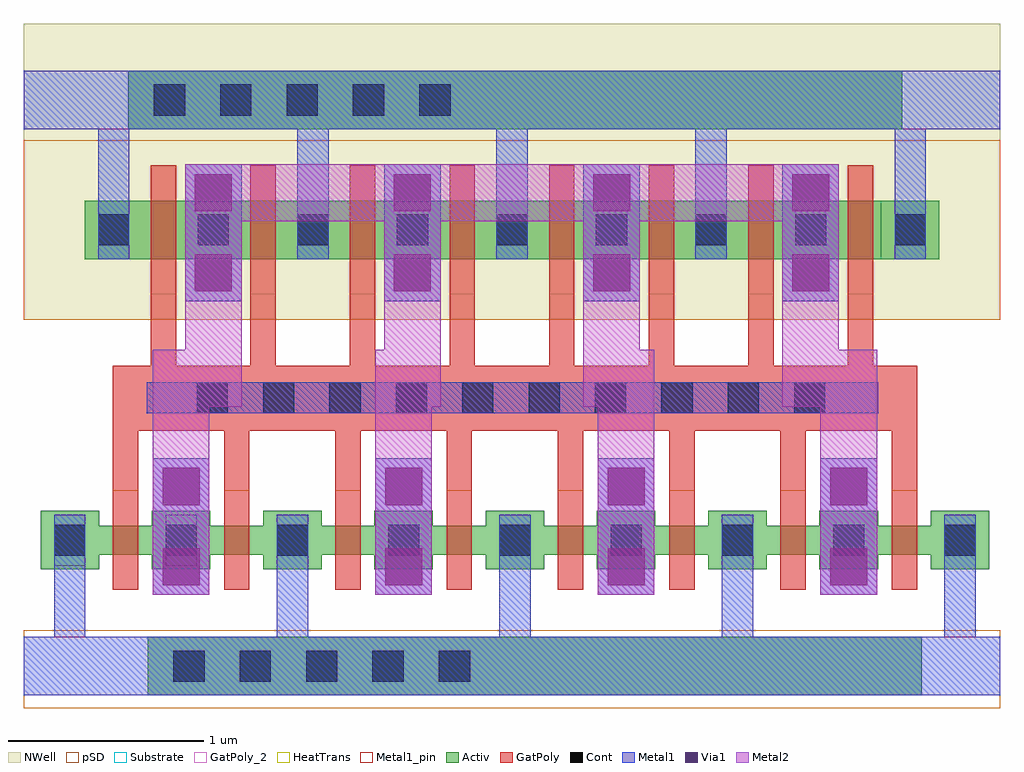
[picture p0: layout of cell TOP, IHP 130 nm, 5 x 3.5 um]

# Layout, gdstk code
from math import pi, radians
import gdstk
lib = gdstk.Library(unit=1e-6, precision=1e-09)
def R(c, l, rs):  # rectangles x0, y0, x1, y1
    for r in rs: c.add(gdstk.rectangle(r[:2], r[2:], *l))
def A(c, l, x, y, w, h, nx, ny, dx, dy):  # array of equal rectangles
    R(c, l, [(x+i*dx, y+j*dy, x+i*dx+w, y+j*dy+h) for i in range(nx) for j in range(ny)])
def P(c, l, *ps):  # polygons
    for p in ps: c.add(gdstk.Polygon(p, *l))
Activ = (1, 0)
GatPoly = (5, 0)
GatPoly_2 = (5, 2)
Cont = (6, 0)
Metal1 = (8, 0)
Metal1_pin = (8, 2)
Metal2 = (10, 0)
pSD = (14, 0)
Via1 = (19, 0)
NWell = (31, 0)
Substrate = (40, 0)
HeatTrans = (51, 0)

pmos_1 = lib.new_cell('pmos$1')
A(pmos_1, Activ, 0, 0, 0.3, 0.3, 9, 1, 0.51, 0)
R(pmos_1, Activ, [(0,0,4.38,0.3)])
A(pmos_1, GatPoly, 0.34, -0.18, 0.13, 0.66, 8, 1, 0.51, 0)
R(pmos_1, GatPoly, [(0.34,-0.18,0.47,0.48)])
A(pmos_1, Cont, 0.07, 0.07, 0.16, 0.16, 9, 1, 0.51, 0)
A(pmos_1, Metal1, 0.58, 0, 0.16, 0.3, 8, 1, 0.51, 0)
R(pmos_1, Metal1, [(0.07,0,0.23,0.3), (0.07,0,0.23,0.3), (0.58,0,0.74,0.3)])
R(pmos_1, pSD, [(-0.18,-0.3,4.56,0.6)])
R(pmos_1, NWell, [(-0.31,-0.31,4.69,0.61)])
R(pmos_1, Substrate, [(4.08,0,4.38,0.3)])
A(pmos_1, HeatTrans, 0.34, -0.18, 0.13, 0.66, 8, 1, 0.51, 0)
pmos_1.add(gdstk.Label('pmos', (0.405,0.15), layer=63, texttype=0))
pmos_1.add(gdstk.Label('pmos', (0.405,0.15), layer=51, texttype=0))
pmos_1.add(gdstk.Label('pmos', (0.915,0.15), layer=51, texttype=0))
pmos_1.add(gdstk.Label('pmos', (1.425,0.15), layer=51, texttype=0))
pmos_1.add(gdstk.Label('pmos', (1.935,0.15), layer=51, texttype=0))
pmos_1.add(gdstk.Label('pmos', (2.445,0.15), layer=51, texttype=0))
pmos_1.add(gdstk.Label('pmos', (2.955,0.15), layer=51, texttype=0))
pmos_1.add(gdstk.Label('pmos', (3.465,0.15), layer=51, texttype=0))
pmos_1.add(gdstk.Label('pmos', (3.975,0.15), layer=51, texttype=0))

nmos_1 = lib.new_cell('nmos$1')
A(nmos_1, Activ, 0, 0, 0.3, 0.3, 9, 1, 0.57, 0)
R(nmos_1, Activ, [(0,0.075,4.86,0.225)])
A(nmos_1, GatPoly, 0.37, -0.105, 0.13, 0.51, 8, 1, 0.57, 0)
R(nmos_1, GatPoly_2, [(0.37,-0.105,0.5,0.405)])
A(nmos_1, Cont, 0.07, 0.07, 0.16, 0.16, 9, 1, 0.57, 0)
A(nmos_1, Metal1, 0.07, 0.02, 0.16, 0.26, 9, 1, 0.57, 0)
R(nmos_1, Metal1_pin, [(0.07,0.02,0.23,0.28), (0.64,0.02,0.8,0.28)])
A(nmos_1, HeatTrans, 0.37, -0.105, 0.13, 0.51, 8, 1, 0.57, 0)
nmos_1.add(gdstk.Label('nmos', (0.435,0.15), layer=63, texttype=0))
nmos_1.add(gdstk.Label('nmos', (0.435,0.15), layer=51, texttype=0))
nmos_1.add(gdstk.Label('nmos', (1.005,0.15), layer=51, texttype=0))
nmos_1.add(gdstk.Label('nmos', (1.575,0.15), layer=51, texttype=0))
nmos_1.add(gdstk.Label('nmos', (2.145,0.15), layer=51, texttype=0))
nmos_1.add(gdstk.Label('nmos', (2.715,0.15), layer=51, texttype=0))
nmos_1.add(gdstk.Label('nmos', (3.285,0.15), layer=51, texttype=0))
nmos_1.add(gdstk.Label('nmos', (3.855,0.15), layer=51, texttype=0))
nmos_1.add(gdstk.Label('nmos', (4.425,0.15), layer=51, texttype=0))

via_stack = lib.new_cell('via_stack')
R(via_stack, Metal1, [(-0.35,-0.145,0.35,0.145)])
R(via_stack, Metal2, [(-0.35,-0.145,0.35,0.145)])
R(via_stack, Via1, [(-0.3,-0.095,-0.11,0.095), (0.11,-0.095,0.3,0.095)])

top = lib.new_cell('TOP')
R(top, Activ, [(-1.115,1.81,2.85,2.11), (-1.215,4.71,2.75,5.01)])
P(top, GatPoly, [(-1.295,2.86),(-1.295,3.5),(-1.1,3.5),(-1.1,3.865),(-0.97,3.865),(-0.97,3.5),(-0.59,3.5),(-0.59,3.865),(-0.46,3.865),(-0.46,3.5),(-0.08,3.5),(-0.08,3.865),(0.05,3.865),(0.05,3.5),(0.43,3.5),(0.43,3.865),(0.56,3.865),(0.56,3.5),(0.94,3.5),(0.94,3.865),(1.07,3.865),(1.07,3.5),(1.45,3.5),(1.45,3.865),(1.58,3.865),(1.58,3.5),(1.96,3.5),(1.96,3.865),(2.09,3.865),(2.09,3.5),(2.47,3.5),(2.47,3.865),(2.6,3.865),(2.6,3.5),(2.825,3.5),(2.825,2.86),(2.695,2.86),(2.695,3.165),(2.255,3.165),(2.255,2.86),(2.125,2.86),(2.125,3.165),(1.685,3.165),(1.685,2.86),(1.555,2.86),(1.555,3.165),(1.115,3.165),(1.115,2.86),(0.985,2.86),(0.985,3.165),(0.545,3.165),(0.545,2.86),(0.415,2.86),(0.415,3.165),(-0.025,3.165),(-0.025,2.86),(-0.155,2.86),(-0.155,3.165),(-0.595,3.165),(-0.595,2.86),(-0.725,2.86),(-0.725,3.165),(-1.165,3.165),(-1.165,2.86)])
A(top, Cont, -0.865, 3.255, 0.16, 0.16, 10, 1, 0.34, 0)
R(top, Cont, [(-0.985,1.88,-0.825,2.04), (-0.645,1.88,-0.485,2.04), (-0.645,1.88,-0.485,2.04), (-0.305,1.88,-0.145,2.04), (-0.305,1.88,-0.145,2.04), (0.035,1.88,0.195,2.04), (0.035,1.88,0.195,2.04), (0.375,1.88,0.535,2.04), (-1.085,4.78,-0.925,4.94), (-0.745,4.78,-0.585,4.94), (-0.745,4.78,-0.585,4.94), (-0.405,4.78,-0.245,4.94), (-0.405,4.78,-0.245,4.94), (-0.065,4.78,0.095,4.94), (-0.065,4.78,0.095,4.94), (0.275,4.78,0.435,4.94)])
R(top, Metal1, [(-1.12,3.255,2.625,3.415)])
P(top, Metal1, [(-1.37,4.345),(-1.37,4.71),(-1.75,4.71),(-1.75,5.01),(3.25,5.01),(3.25,4.71),(2.87,4.71),(2.87,4.345),(2.71,4.345),(2.71,4.71),(1.85,4.71),(1.85,4.345),(1.69,4.345),(1.69,4.71),(0.83,4.71),(0.83,4.345),(0.67,4.345),(0.67,4.71),(-0.19,4.71),(-0.19,4.345),(-0.35,4.345),(-0.35,4.71),(-1.21,4.71),(-1.21,4.345)],
  [(-1.75,1.81),(-1.75,2.11),(-1.595,2.11),(-1.595,2.475),(-1.435,2.475),(-1.435,2.11),(-0.455,2.11),(-0.455,2.475),(-0.295,2.475),(-0.295,2.11),(0.685,2.11),(0.685,2.475),(0.845,2.475),(0.845,2.11),(1.825,2.11),(1.825,2.475),(1.985,2.475),(1.985,2.11),(2.965,2.11),(2.965,2.475),(3.125,2.475),(3.125,2.11),(3.25,2.11),(3.25,1.81)])
R(top, Metal1_pin, [(-1.75,1.81,3.25,2.11), (-1.12,3.255,2.625,3.415), (-1.75,4.71,3.25,5.01)])
R(top, Metal2, [(-0.925,4.24,2.425,4.53)])
P(top, Metal2, [(-1.09,3.025),(-1.09,3.58),(-0.925,3.58),(-0.925,3.83),(-0.635,3.83),(-0.635,3.29),(-0.8,3.29),(-0.8,3.025)],
  [(0.05,3.025),(0.05,3.58),(0.095,3.58),(0.095,3.83),(0.385,3.83),(0.385,3.29),(0.34,3.29),(0.34,3.025)],
  [(1.19,3.025),(1.19,3.29),(1.115,3.29),(1.115,3.83),(1.405,3.83),(1.405,3.58),(1.48,3.58),(1.48,3.025)],
  [(2.33,3.025),(2.33,3.29),(2.135,3.29),(2.135,3.83),(2.425,3.83),(2.425,3.58),(2.62,3.58),(2.62,3.025)])
R(top, pSD, [(-1.75,1.745,3.25,2.145), (-1.75,3.735,3.25,4.655)])
R(top, NWell, [(-1.75,4.655,3.25,5.25)])
top.add(gdstk.Reference(pmos_1, (-1.44,4.045)))
top.add(gdstk.Reference(nmos_1, (-1.665,2.455)))
top.add(gdstk.Reference(via_stack, (0.195,2.675), rotation=3*pi/2))
top.add(gdstk.Reference(via_stack, (2.475,2.675), rotation=3*pi/2))
top.add(gdstk.Reference(via_stack, (1.335,2.675), rotation=3*pi/2))
top.add(gdstk.Reference(via_stack, (-0.78,4.18), rotation=3*pi/2))
top.add(gdstk.Reference(via_stack, (0.24,4.18), rotation=3*pi/2))
top.add(gdstk.Reference(via_stack, (1.26,4.18), rotation=3*pi/2))
top.add(gdstk.Reference(via_stack, (-0.945,2.675), rotation=3*pi/2))
top.add(gdstk.Reference(via_stack, (2.28,4.18), rotation=3*pi/2))

lib.write_gds('TOP.gds')
